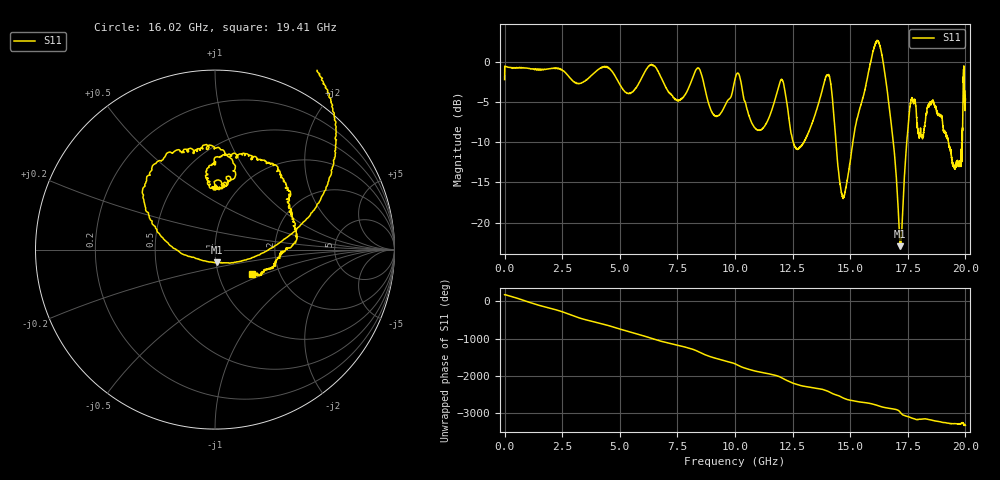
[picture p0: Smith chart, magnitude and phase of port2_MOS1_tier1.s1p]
! Created with skrf 1.8.0 (http://scikit-rf.org).
# GHz S RI R 50.0
!freq ReS11 ImS11
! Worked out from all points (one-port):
!   10001 points, 1 MHz to 20 GHz, reference 50 ohm
!   lowest |S11| = -22.9 dB at 17.17 GHz (marker M1), VSWR 1.15, Z = 50.4 - j7.16 ohm
!   |S11| at or under -10 dB: 14.39 GHz to 15.11 GHz (728.2 MHz wide, 4.94 % of centre); 16.87 GHz to 17.46 GHz (585.7 MHz wide, 3.41 % of centre); 19.26 GHz to 19.86 GHz (595.5 MHz wide, 3.04 % of centre) (the widest 3 of 4)
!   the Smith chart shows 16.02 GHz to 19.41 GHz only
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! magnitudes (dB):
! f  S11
! 1 MHz  -2.2
! 2.501 GHz  -1.0
! 5.001 GHz  -2.8
! 5.505 GHz  -3.8
! 6.417 GHz  -0.4
! 7.501 GHz  -4.7
! 8.407 GHz  -0.8
! 9.247 GHz  -6.7
! 10 GHz  -2.1
! 11.04 GHz  -8.5
! 12.04 GHz  -2.2
! 12.5 GHz  -9.7
! 12.99 GHz  -10.0
! 14.03 GHz  -1.6
! 14.18 GHz  -3.3
! 14.63 GHz  -16.4
! 15 GHz  -12.4
! 16.22 GHz  2.5
! 16.77 GHz  -7.3
! 17.17 GHz  -22.9
! 17.25 GHz  -20.4
! 17.5 GHz  -8.5
! 17.7 GHz  -4.5
! 18.08 GHz  -9.2
! 18.6 GHz  -4.9
! 19.62 GHz  -12.6
! 19.78 GHz  -12.9
! 20 GHz  -4.8
